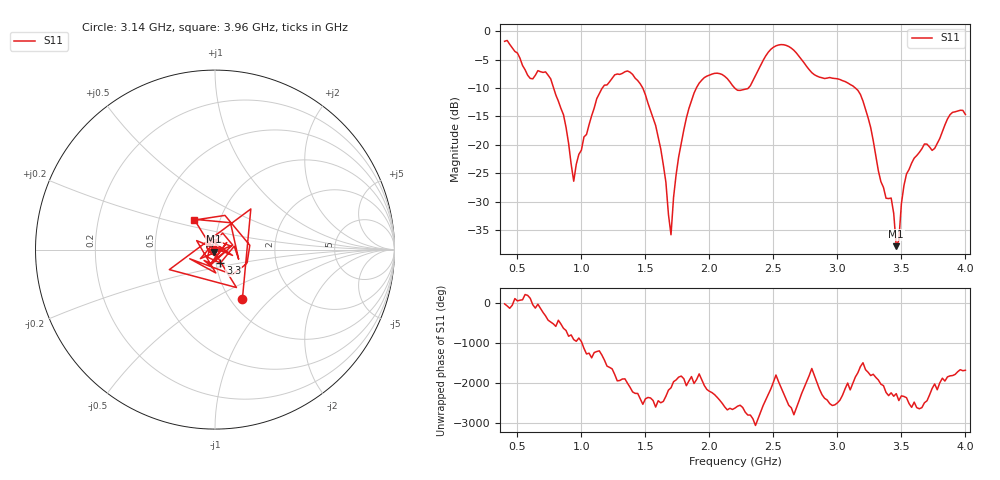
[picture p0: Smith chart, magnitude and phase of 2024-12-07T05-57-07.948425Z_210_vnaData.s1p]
!Created with skrf (http://scikit-rf.org).
# Hz S RI R 50.0
!freq ReS11 ImS11
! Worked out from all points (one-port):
!   181 points, 400 MHz to 4 GHz, reference 50 ohm
!   lowest |S11| = -37.9 dB at 3.46 GHz (marker M1), VSWR 1.03, Z = 49.4 - j1.14 ohm
!   |S11| at or under -10 dB: 782.7 MHz to 1.163 GHz (380.4 MHz wide, 39.1 % of centre); 1.479 GHz to 1.898 GHz (418.5 MHz wide, 24.8 % of centre); 3.141 GHz to end of sweep (the widest 3 of 4)
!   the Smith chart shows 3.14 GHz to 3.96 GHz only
!   S11 on the Smith chart (normalised r, x): 3.14 GHz: 1.13, -0.70; 3.3 GHz: 1.05, -0.16; 3.96 GHz: 0.75, +0.26
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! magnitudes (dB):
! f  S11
! 400 MHz  -1.8
! 600 MHz  -8.3
! 720 MHz  -7.2
! 860 MHz  -14.7
! 940 MHz  -26.4
! 1.12 GHz  -11.9
! 1.3 GHz  -7.6
! 1.46 GHz  -9.3
! 1.58 GHz  -16.6
! 1.66 GHz  -26.6
! 1.7 GHz  -35.8
! 1.76 GHz  -22.1
! 1.92 GHz  -9.1
! 2.2 GHz  -10.1
! 2.3 GHz  -10.1
! 2.5 GHz  -2.8
! 2.66 GHz  -3.3
! 3.1 GHz  -9.4
! 3.14 GHz  -10.0
! 3.3 GHz  -21.9
! 3.38 GHz  -29.4
! 3.42 GHz  -29.4
! 3.46 GHz  -37.9
! 3.48 GHz  -36.8
! 3.52 GHz  -27.2
! 3.56 GHz  -24.3
! 3.96 GHz  -13.9
! 4 GHz  -14.7
